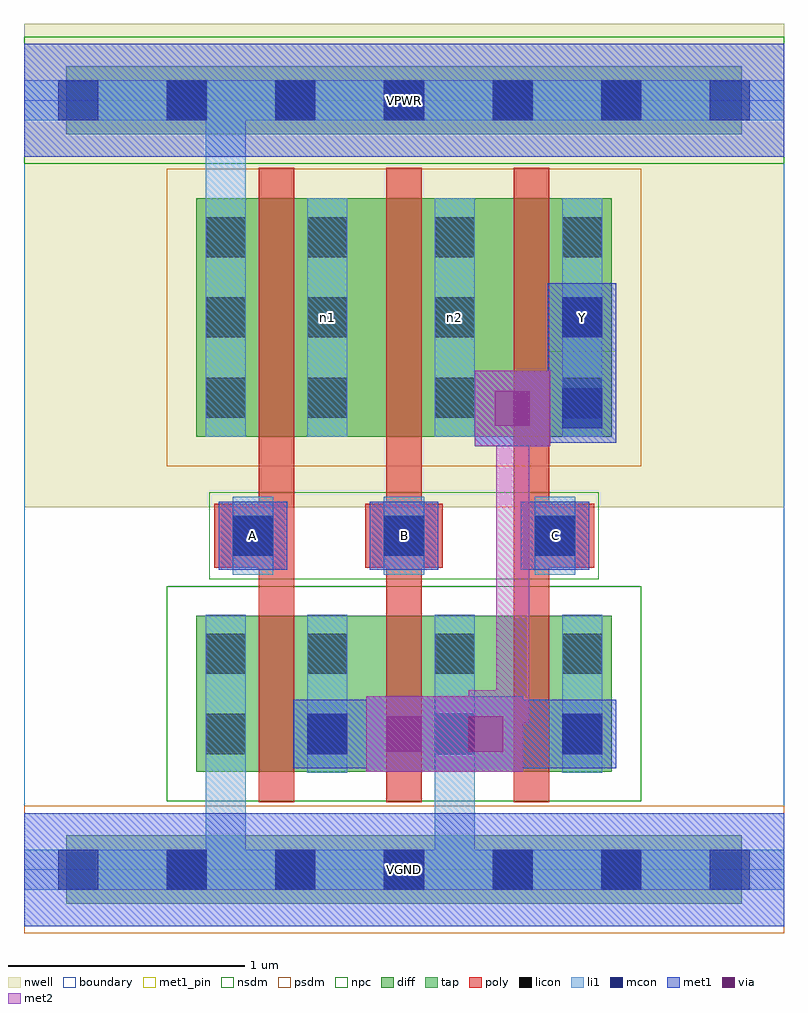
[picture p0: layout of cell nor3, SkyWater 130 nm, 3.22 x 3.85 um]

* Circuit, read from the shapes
.subckt nor3 A B C VGND VPWR Y n1 n2
XM1 Y A VGND VGND sky130_fd_pr__nfet_01v8 w=0.66 l=0.15
XM2 VGND B Y VGND sky130_fd_pr__nfet_01v8 w=0.66 l=0.15
XM3 Y C VGND VGND sky130_fd_pr__nfet_01v8 w=0.66 l=0.15
XM4 n1 A VPWR VPWR sky130_fd_pr__pfet_01v8 w=1.01 l=0.15
XM5 n2 B n1 VPWR sky130_fd_pr__pfet_01v8 w=1.01 l=0.15
XM6 Y C n2 VPWR sky130_fd_pr__pfet_01v8 w=1.01 l=0.15
.ends

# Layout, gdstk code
import gdstk
lib = gdstk.Library(unit=1e-6, precision=1e-09)
def R(c, l, rs):  # rectangles x0, y0, x1, y1
    for r in rs: c.add(gdstk.rectangle(r[:2], r[2:], *l))
def A(c, l, x, y, w, h, nx, ny, dx, dy):  # array of equal rectangles
    R(c, l, [(x+i*dx, y+j*dy, x+i*dx+w, y+j*dy+h) for i in range(nx) for j in range(ny)])
nwell = (64, 20)
diff = (65, 20)
tap = (65, 44)
poly = (66, 20)
licon = (66, 44)
li1 = (67, 20)
mcon = (67, 44)
met1_pin = (68, 16)
met1 = (68, 20)
via = (68, 44)
met2 = (69, 20)
nsdm = (93, 44)
psdm = (94, 20)
npc = (95, 20)
boundary = (235, 4)

nor3 = lib.new_cell('nor3')
R(nor3, nwell, [(0,1.535,3.22,3.585)])
R(nor3, diff, [(0.73,0.415,2.49,1.075), (0.73,1.835,2.49,2.845)])
R(nor3, tap, [(0.18,-0.145,3.04,0.145), (0.18,3.115,3.04,3.405)])
A(nor3, poly, 0.995, 0.285, 0.15, 2.69, 3, 1, 0.54, 0)
A(nor3, poly, 0.805, 1.28, 0.33, 0.27, 3, 1, 0.64, 0)
A(nor3, licon, 0.605, -0.085, 0.17, 0.17, 5, 2, 0.46, 3.26)
A(nor3, licon, 1.2, 0.49, 0.17, 0.17, 3, 2, 0.54, 0.34)
A(nor3, licon, 0.885, 1.33, 0.17, 0.17, 3, 1, 0.64, 0)
A(nor3, licon, 0.77, 1.915, 0.17, 0.17, 1, 3, 0, 0.34)
A(nor3, licon, 1.2, 1.915, 0.17, 0.17, 3, 3, 0.54, 0.34)
R(nor3, licon, [(0.77,0.49,0.94,0.66), (0.77,0.83,0.94,1)])
A(nor3, li1, 1.2, 0.41, 0.17, 0.67, 3, 1, 0.54, 0)
A(nor3, li1, 0.885, 1.25, 0.17, 0.33, 3, 1, 0.64, 0)
A(nor3, li1, 1.2, 1.835, 0.17, 1.01, 3, 1, 0.54, 0)
R(nor3, li1, [(0,-0.085,3.22,0.085), (0.77,-0.085,0.94,1.08), (1.74,-0.085,1.91,1.08), (0.77,0.41,0.94,1.08), (0.77,1.835,0.94,2.845), (0.77,1.835,0.94,3.345), (0,3.175,3.22,3.345)])
A(nor3, mcon, 0.145, -0.085, 0.17, 0.17, 7, 2, 0.46, 3.26)
A(nor3, mcon, 0.885, 1.33, 0.17, 0.17, 3, 1, 0.64, 0)
R(nor3, mcon, [(1.2,0.49,1.37,0.66), (2.28,0.49,2.45,0.66), (2.28,1.87,2.45,2.04), (2.28,2.255,2.45,2.425)])
A(nor3, met1_pin, 0.825, 1.27, 0.29, 0.29, 3, 1, 0.64, 0)
R(nor3, met1_pin, [(0,-0.24,3.22,0.24), (2.22,2.195,2.51,2.485), (0,3.02,3.22,3.5)])
A(nor3, met1, 0.825, 1.27, 0.29, 0.29, 3, 1, 0.64, 0)
R(nor3, met1, [(0,-0.24,3.22,0.24), (1.45,0.415,1.77,0.735), (1.77,0.415,1.795,0.735), (1.795,0.415,2.115,0.735), (1.14,0.43,1.43,0.72), (1.43,0.43,1.45,0.72), (2.115,0.43,2.22,0.72), (2.22,0.43,2.51,0.72), (1.215,0.505,1.45,0.645), (1.31,0.505,1.68,0.645), (1.68,0.505,1.795,0.645), (1.77,0.505,1.885,0.645), (1.885,0.505,2.255,0.645), (2.115,0.505,2.435,0.645), (1.91,1.795,2.23,2.115), (2.22,1.81,2.51,2.1), (2,1.885,2.255,2.025), (2.115,1.885,2.435,2.025), (2.22,2.1,2.51,2.195), (2.22,2.115,2.23,2.195), (2.22,2.195,2.51,2.485), (0,3.02,3.22,3.5)])
R(nor3, via, [(1.535,0.5,1.685,0.65), (1.88,0.5,2.03,0.65), (1.995,1.88,2.145,2.03)])
R(nor3, met2, [(1.45,0.415,1.77,0.735), (1.77,0.415,1.795,0.735), (1.795,0.415,2.115,0.735), (1.54,0.505,2.025,0.645), (1.77,0.505,1.885,0.735), (1.885,0.505,2.025,0.76), (1.77,0.62,1.885,0.735), (1.885,0.62,2.14,0.76), (2,0.62,2.14,2.025), (1.91,1.795,2.23,2.115)])
R(nor3, nsdm, [(0.605,0.29,2.615,1.2), (0,2.99,3.22,3.53)])
R(nor3, psdm, [(0,-0.27,3.22,0.27), (0.605,1.71,2.615,2.97)])
R(nor3, npc, [(0.785,1.23,2.435,1.6)])
R(nor3, boundary, [(0,0,3.22,3.26)])
nor3.add(gdstk.Label('n1', (1.285,2.34), layer=67, texttype=5))
nor3.add(gdstk.Label('n2', (1.825,2.34), layer=67, texttype=5))
nor3.add(gdstk.Label('A', (0.97,1.415), layer=68, texttype=5))
nor3.add(gdstk.Label('B', (1.61,1.415), layer=68, texttype=5))
nor3.add(gdstk.Label('C', (2.25,1.415), layer=68, texttype=5))
nor3.add(gdstk.Label('Y', (2.365,2.34), layer=68, texttype=5))
nor3.add(gdstk.Label('VPWR', (1.61,3.26), layer=68, texttype=5))
nor3.add(gdstk.Label('VGND', (1.61,0), layer=68, texttype=5))
nor3.add(gdstk.Label('A', (0.97,1.415), layer=68, texttype=16))
nor3.add(gdstk.Label('B', (1.61,1.415), layer=68, texttype=16))
nor3.add(gdstk.Label('C', (2.25,1.415), layer=68, texttype=16))
nor3.add(gdstk.Label('Y', (2.365,2.34), layer=68, texttype=16))
nor3.add(gdstk.Label('VPWR', (1.61,3.26), layer=68, texttype=16))
nor3.add(gdstk.Label('VGND', (1.61,0), layer=68, texttype=16))

lib.write_gds('nor3.gds')
